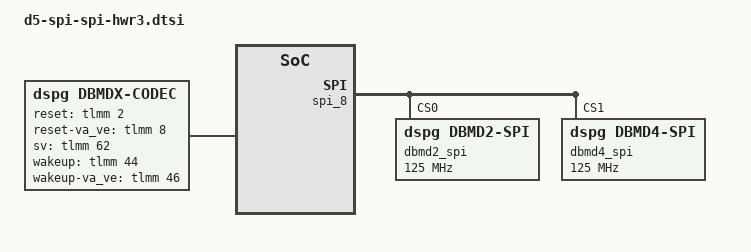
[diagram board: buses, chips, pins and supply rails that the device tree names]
#include <dt-bindings/sound/dbmdx-va-regmap.h>

#define DBMDX_QED_SUPPORTED		0
/* Model Support */
#define DBMDX_OKG_WWE_SUPPORT		1
#define DBMDX_SENSORY_WWE_SUPPORT	0
#define DBMDX_AMAZON_WWE_SUPPORT	0

/* Chip Type */
#define DBMDX_VA_CHIP_TYPE_D4P		1

/* Master Clock */
#define DBMDX_MCLOCK_VA_32KHZ		1
#define DBMDX_MCLOCK_VA_12MHZ		0
#define DBMDX_MCLOCK_VA_VE_12MHZ	0
#define DBMDX_MCLOCK_VA_VE_19MHZ	1

/* Wakeup support */
#define DBMDX_WAKEUP_VA_ENABLED		1
#define DBMDX_WAKEUP_VA_VE_ENABLED	1
#define DBMDX_LOW_POWER_MODE_ENABLED	1
/* Reset GPIO*/
#define DBMDX_RESET_GPIO_SHARED		0
&spi_8 {
		status = "okay";

		dbmd2_spi:dbmd2_interface@0x0  {
			compatible = "dspg,dbmd2-spi";
			reg = <0>;
			spi-max-frequency = <125000000>;
			read-chunk-size  = <0x2000> ;
			write-chunk-size = <0x8000> ;
			dma_min_buffer_size = <0>;
		};

		dbmd4_spi:dbmd4_interface@0x1  {
			compatible = "dspg,dbmd4-spi";
			reg = <1>;
			spi-max-frequency = <125000000>;
			read-chunk-size  = <0x2000> ;
			write-chunk-size = <0x8000> ;
			dma_min_buffer_size = <0>;
		};

};

&soc {

	dbmdx {
		status = "okay";
		compatible = "dspg,dbmdx-codec";
#if DBMDX_RESET_GPIO_SHARED
		reset_gpio_shared = <1>;
#else
		reset_gpio_shared = <0>;
#endif
		reset-gpio = <&tlmm 2 0>;
#if DBMDX_RESET_GPIO_SHARED == 0
		reset-va_ve-gpio = <&tlmm 8 0>;
#endif
		sv-gpio = <&tlmm 62 0>;
#if DBMDX_WAKEUP_VA_ENABLED
		wakeup-gpio = <&tlmm 44 0>;
#endif
#if DBMDX_WAKEUP_VA_VE_ENABLED
		wakeup-va_ve-gpio = <&tlmm 46 0>;
#endif
		auto_buffering = <1>;

		multi-interface-support = <1>;

		cd-interfaces = <&dbmd2_spi &dbmd4_spi >;

		va-interfaces = <1 1 1 1>;
		va_ve-interfaces = <0 0 0 0>;
		feature-va_ve; /* enable VA_VE */ /*feature-va_ve*/
		va-firmware-name = "dbmd8_va_fw.bin";
		va-preboot-firmware-name = "dbmd4_va_preboot_fw.bin";
		va_ve-firmware-name = "dbmd2_va_ve_fw.bin";
		va_ve-preboot-firmware-name ="dbmd2_va_preboot_fw.bin";
		va-config =	<DBMDX_VA_EMPTY_CMD
				DBMDX_VA_EMPTY_CMD
				DBMDX_VA_EMPTY_CMD
				(DBMDX_REGN_HOST_INTERFACE_SUPPORT |
					DBMDX_REGV_SPI_D2_TDM1_D4_GPIO_4_5_6_7)
				(DBMDX_REGN_MASTER_CLOCK_FREQUENCY |
#if DBMDX_MCLOCK_VA_32KHZ
					DBMDX_REGV_MCLK_32768Hz)
#elif DBMDX_MCLOCK_VA_12MHZ
					DBMDX_REGV_MCLK_12288000Hz)
#else /* 24MHZ */
					DBMDX_REGV_MCLK_24576000Hz)
#endif
				(DBMDX_REGN_AUDIO_BUFFER_SIZE |
#if DBMDX_VA_CHIP_TYPE_D4P
					DBMDX_REGV_AUDIO_BUFFER_3_SEC)
#else /* D4 */
					DBMDX_REGV_AUDIO_BUFFER_2_SEC)
#endif
				(DBMDX_REGN_GENERAL_CONFIG_1 |
					DBMDX_REGV_SPLIT_MIC_BUFFER |
					DBMDX_REGV_MAX_NUMBER_OF_MIC_IS_4)
#if DBMDX_OKG_WWE_SUPPORT
				(DBMDX_REGN_MEMORY_CONFIG |
					DBMDX_REGV_AMODEL_0_LOC_DTCM |
					DBMDX_REGV_AMODEL_1_LOC_DTCM |
					DBMDX_REGV_AMODEL_2_LOC_DTCM |
					DBMDX_REGV_AMODEL_3_LOC_DTCM |
					DBMDX_REGV_AMODEL_4_LOC_DTCM |
					DBMDX_REGV_AHB_ON_SIZE_32KW  |
					DBMDX_REGV_AUDIO_BUF_LOC_DTCM_USING_MEM_ALLOCATION |
					DBMDX_REGV_DTCM_SIZE_D4_D6_96_KW_D8_128KW)
#else
				(DBMDX_REGN_MEMORY_CONFIG |
					DBMDX_REGV_AMODEL_0_LOC_AHB |
					DBMDX_REGV_AMODEL_1_LOC_DTCM |
					DBMDX_REGV_AMODEL_2_LOC_DTCM |
					DBMDX_REGV_AMODEL_3_LOC_DTCM |
					DBMDX_REGV_AMODEL_4_LOC_DTCM |
					DBMDX_REGV_AHB_ON_SIZE_192KW_32KW_CACHE_D8 |
					DBMDX_REGV_AUDIO_BUF_LOC_DTCM_USING_MEM_ALLOCATION |
					DBMDX_REGV_DTCM_SIZE_D4_D6_96_KW_D8_192KW)

#endif
				(DBMDX_REGN_GENERAL_CONFIG_2 |
					DBMDX_REGV_MIC_SAMPLE_RATE_16K |
					DBMDX_REGV_FW_VAD_TYPE_NO_VAD)
#if DBMDX_OKG_WWE_SUPPORT == 0
				(DBMDX_REGN_BUFFERING_NORMAL_AMPLITUDE |
					DBMDX_REGV_NORMALIZE_TO_MINUS_6dB)
#endif
				(DBMDX_REGN_GPIO_CONFIG |
					DBMDX_REGV_SET_SEC_GPIO |
					DBMDX_REGV_SEC_MODEL_DET_GPIO_NUM_15 |
					DBMDX_REGV_SET_PRI_GPIO |
					DBMDX_REGV_PRI_MODEL_DET_GPIO_NUM_15 )
				(DBMDX_REGN_HPF_ENABLE_DISABLE |
					0x0010 |
					DBMDX_REGV_IIR_HPF_EN |
					DBMDX_REGV_DC_REMOVE_COARSE_EN)
#if DBMDX_AMAZON_WWE_SUPPORT
				(DBMDX_REGN_VT_ENGINE_LPSD_VAD |
					DBMDX_REGV_LPSD_VAD_ENABLED )
#endif
				(DBMDX_REGN_DSP_CLOCK_CONFIG |
#if DBMDX_MCLOCK_VA_32KHZ
					DBMDX_REGV_USE_PLL_STEP_FROM_REG_0x1E |
#elif DBMDX_MCLOCK_VA_12MHZ
					DBMDX_REGV_PLL_STEP_8 |
#else /* 24Mhz */
					DBMDX_REGV_PLL_STEP_4 |
#endif
					DBMDX_REGV_TL3_DIV_1 |
					DBMDX_REGV_APB_DIV_1 |
					DBMDX_REGV_AHB_DIV_1 )
#if DBMDX_MCLOCK_VA_32KHZ
				(DBMDX_VA_MSLEEP | 0x0040)
				(DBMDX_REGN_DSP_CLOCK_CONFIG_EXTENSION |
					DBMDX_REGV_CLK_EXT_PLL_STEP_16)
#endif
				(DBMDX_VA_MSLEEP | 0x0040)

				(DBMDX_REGN_UART_SPEED |
					DBMDX_REGV_UART_BAUD_RATE_3_Mhz)
				DBMDX_VA_EMPTY_CMD
				DBMDX_VA_EMPTY_CMD
				DBMDX_VA_EMPTY_CMD>;
		va_ve-config = <DBMDX_VA_EMPTY_CMD
				DBMDX_VA_EMPTY_CMD
				DBMDX_VA_EMPTY_CMD
				(DBMDX_REGN_HOST_INTERFACE_SUPPORT |
					DBMDX_REGV_SPI_D2_TDM1_D4_GPIO_4_5_6_7 |
					DBMDX_REGV_UART_D2_0_UART_Rx_Tx_D4_1_GPIO_8_9 )
				(DBMDX_REGN_MASTER_CLOCK_FREQUENCY |
#if DBMDX_MCLOCK_VA_VE_12MHZ
					DBMDX_REGV_MCLK_12288000Hz)
#elif DBMDX_MCLOCK_VA_VE_19MHZ
					DBMDX_REGV_MCLK_19200000Hz)
#else /* 24Mhz */
					DBMDX_REGV_MCLK_24576000Hz)
#endif
				(DBMDX_REGN_AUDIO_BUFFER_SIZE | 0x20)
				(DBMDX_REGN_GENERAL_CONFIG_1 |
					DBMDX_REGV_INVERT_DETECTION_GPIOS_ACTIVE_HIGH |
					DBMDX_REGV_WAKEUP_POLARITY_ACTIVE_LOW |
					DBMDX_REGV_DSP_CLK_GEN_PLL |
					DBMDX_REGV_MAX_NUMBER_OF_MIC_IS_0 )
				(DBMDX_REGN_GENERAL_CONFIG_2 |
					DBMDX_REGV_MIC_SAMPLE_RATE_16K |
					DBMDX_REGV_FW_VAD_TYPE_NO_VAD)
				(DBMDX_REGN_AUDIO_ROUTING_CONFIG |
					DBMDX_REGV_MUSIC_IN_TDM3)
				(DBMDX_REGN_DSP_CLOCK_CONFIG |
#if DBMDX_MCLOCK_VA_VE_12MHZ || DBMDX_MCLOCK_VA_VE_19MHZ
					DBMDX_REGV_USE_PLL_STEP_FROM_REG_0x1E |
#else
					DBMDX_REGV_PLL_STEP_12 |
#endif
					DBMDX_REGV_TL3_DIV_1 |
					DBMDX_REGV_APB_DIV_1 |
					DBMDX_REGV_AHB_DIV_2 )
				(DBMDX_VA_MSLEEP | 0x0040)
#if DBMDX_MCLOCK_VA_VE_12MHZ || DBMDX_MCLOCK_VA_VE_19MHZ
				(DBMDX_REGN_DSP_CLOCK_CONFIG_EXTENSION |
#if DBMDX_MCLOCK_VA_VE_12MHZ
					DBMDX_REGV_CLK_EXT_PLL_STEP_24)
#else
					DBMDX_REGV_CLK_EXT_PLL_STEP_40)
#endif
				(DBMDX_VA_MSLEEP | 0x0040)
#endif

				(DBMDX_REGN_UART_SPEED |
					DBMDX_REGV_UART_BAUD_RATE_3_Mhz)
				DBMDX_VA_EMPTY_CMD
				DBMDX_VA_EMPTY_CMD
				DBMDX_VA_EMPTY_CMD>;

		va-speeds = <0x0000 460800  0 1000000
			     0x0000 2000000 0 3000000
			     0x0000 3000000 0 5000000>;
		va-mic-config = <0x5076 0xa061 0x0008>;
		va_ve-mic-config = <0x5096 0xa081 0xa093 0x0000>;
		va-mic-mode = <0>;

#if DBMDX_MCLOCK_VA_32KHZ
		master-clk-rate = <32768>;
#elif DBMDX_MCLOCK_VA_12MHZ
		master-clk-rate = <12288000>;
#else
		master-clk-rate = <24576000>;
#endif

#if DBMDX_MCLOCK_VA_VE_12MHZ
		master_va_ve-clk-rate = <12288000>;
#elif DBMDX_MCLOCK_VA_VE_19MHZ
		master_va_ve-clk-rate = <19200000>;
#else
		master_va_ve-clk-rate = <24576000>;
#endif
		default_va_clock = <98304000>;
		auto_detection = <1>;
#if DBMDX_VA_CHIP_TYPE_D4P
		firmware_id = <0xdbd8>;
#else
		firmware_id = <0xdbd4>;
#endif
		firmware_id_va_ve = <0xdbd2>;
#if DBMDX_WAKEUP_VA_ENABLED
		wakeup_disabled = <0>;
#else
		wakeup_disabled = <1>;
#endif
		use_gpio_for_wakeup = <1>; /* Use wakeup gpio */
		send_wakeup_seq = <0>; /* Send wakup seq */
		wakeup_set_value = <0>;
#if DBMDX_WAKEUP_VA_VE_ENABLED
		wakeup_va_ve_disabled = <0>;
#else
		wakeup_va_ve_disabled = <1>;
#endif
		use_gpio_for_wakeup_va_ve = <1>; /* Use wakeup gpio */
		send_wakeup_va_ve_seq = <0>; /* Send wakup seq */
		wakeup_va_ve_set_value = <1>;

		uart_low_speed_enabled = <1>;
		detection_buffer_channels = <0>;
		pcm_streaming_mode = <1>;
		boot_options_va_ve = <0x200>; /* Send Preboot,Do not set pll,do not send sbl,verify chip id */
		boot_options = <0x201>; /* Verify chip id , Send Preboot*/
		send_uevent_on_detection = <1>;
		send_uevent_after_buffering = <1>;
		detection_after_buffering = <1>;
		change_clock_src_options = <0x4000>;
#if DBMDX_SENSORY_WWE_SUPPORT || DBMDX_OKG_WWE_SUPPORT
		va_backlog_length = <2>;
#else
		va_backlog_length = <502>;
#endif
		va_backlog_length_okg = <1000>;
		qed_enabled = <0>;
#if DBMDX_LOW_POWER_MODE_ENABLED
		low_power_mode_disabled = <0>;
#else
		low_power_mode_disabled = <1>;
#endif
		hw_revision = <3>;
		buffering_timeout = <5>;
		default-streaming-usecase-name = "uc_mango_barge_in_48k_16b_no_speaker";
		alsa_streaming_options = <0xc>;
		asrp_gain = <0x7fff>; /* gain=24: (int)((10^(gain/20))*2048) */
		asrp_delay = <310>;
		va_ve_separate_clocks = <1>;
		amodel_options = <1>;
	};
};

